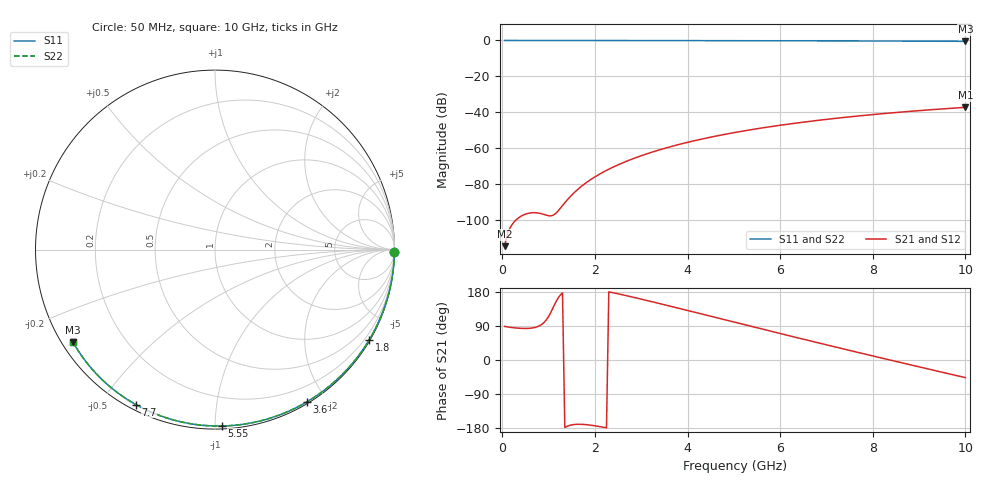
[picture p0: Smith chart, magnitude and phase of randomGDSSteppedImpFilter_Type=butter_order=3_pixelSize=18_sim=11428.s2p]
! freq	dB(S11)	phase(S11)	dB(S12)	phase(S12)
!  dB(S21)	phase(S21)	dB(S22)	phase(S22)
!S-par simulation data
#  GHz  S  DB  R 50
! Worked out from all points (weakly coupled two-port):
!   200 points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, 50 MHz to 10 GHz, reference 50 ohm
!   highest |S21| = -37.34 dB at 10 GHz (marker M1); lowest = -114.8 dB at 50 MHz (marker M2)
!   lowest |S11| = -0.5 dB at 10 GHz (marker M3), VSWR 35.11, Z = 1.55 - j14.9 ohm
!   |S11| at or under -10 dB: nowhere
!   |S22| runs from -0.5 to 0.0 dB; largest |S21 - S12| = 0
!   S11 on the Smith chart (normalised r, x): 50 MHz: open; 1.8 GHz: 0.03, -3.70; 3.6 GHz: 0.02, -1.77; 5.55 GHz: 0.02, -1.04; 7.7 GHz: 0.02, -0.61; 10 GHz: 0.03, -0.30
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0.05  -0.00 -0.9  -114.82 88.7  -114.82 88.7  -0.00 -0.9
0.45  -0.01 -7.7  -97.47 83.3  -97.47 83.3  -0.01 -7.7
0.9  -0.02 -15.3  -97.12 98.8  -97.12 98.8  -0.02 -15.3
1.3  -0.03 -22.0  -92.17 177.3  -92.17 177.3  -0.03 -22.0
1.75  -0.04 -29.4  -80.58 -170.0  -80.58 -170.0  -0.04 -29.4
1.8  -0.04 -30.2  -79.61 -170.5  -79.61 -170.5  -0.04 -30.2
1.95  -0.04 -32.7  -76.96 -172.7  -76.96 -172.7  -0.04 -32.7
2.1  -0.04 -35.1  -74.63 -175.6  -74.63 -175.6  -0.04 -35.1
2.3  -0.05 -38.4  -71.87 179.8  -71.87 179.8  -0.05 -38.4
2.5  -0.05 -41.6  -69.43 174.7  -69.43 174.7  -0.05 -41.6
2.9  -0.06 -48.0  -65.26 163.5  -65.26 163.5  -0.06 -48.0
3.4  -0.07 -55.9  -61.01 148.8  -61.01 148.8  -0.07 -55.9
3.6  -0.08 -58.9  -59.53 142.8  -59.53 142.8  -0.08 -58.9
4.3  -0.10 -69.6  -55.08 121.6  -55.08 121.6  -0.10 -69.6
5.05  -0.12 -80.6  -51.24 98.7  -51.24 98.7  -0.12 -80.6
5.55  -0.14 -87.8  -49.07 83.5  -49.07 83.5  -0.14 -87.8
6.1  -0.17 -95.5  -46.97 66.9  -46.97 66.9  -0.17 -95.5
6.7  -0.20 -103.7  -44.95 48.9  -44.95 48.9  -0.20 -103.7
7.7  -0.27 -117.0  -42.11 19.4  -42.11 19.4  -0.27 -117.0
8.35  -0.32 -125.5  -40.55 0.6  -40.55 0.6  -0.32 -125.5
9.2  -0.40 -136.5  -38.77 -23.8  -38.77 -23.8  -0.40 -136.5
10  -0.49 -146.9  -37.34 -46.5  -37.34 -46.5  -0.49 -146.9
